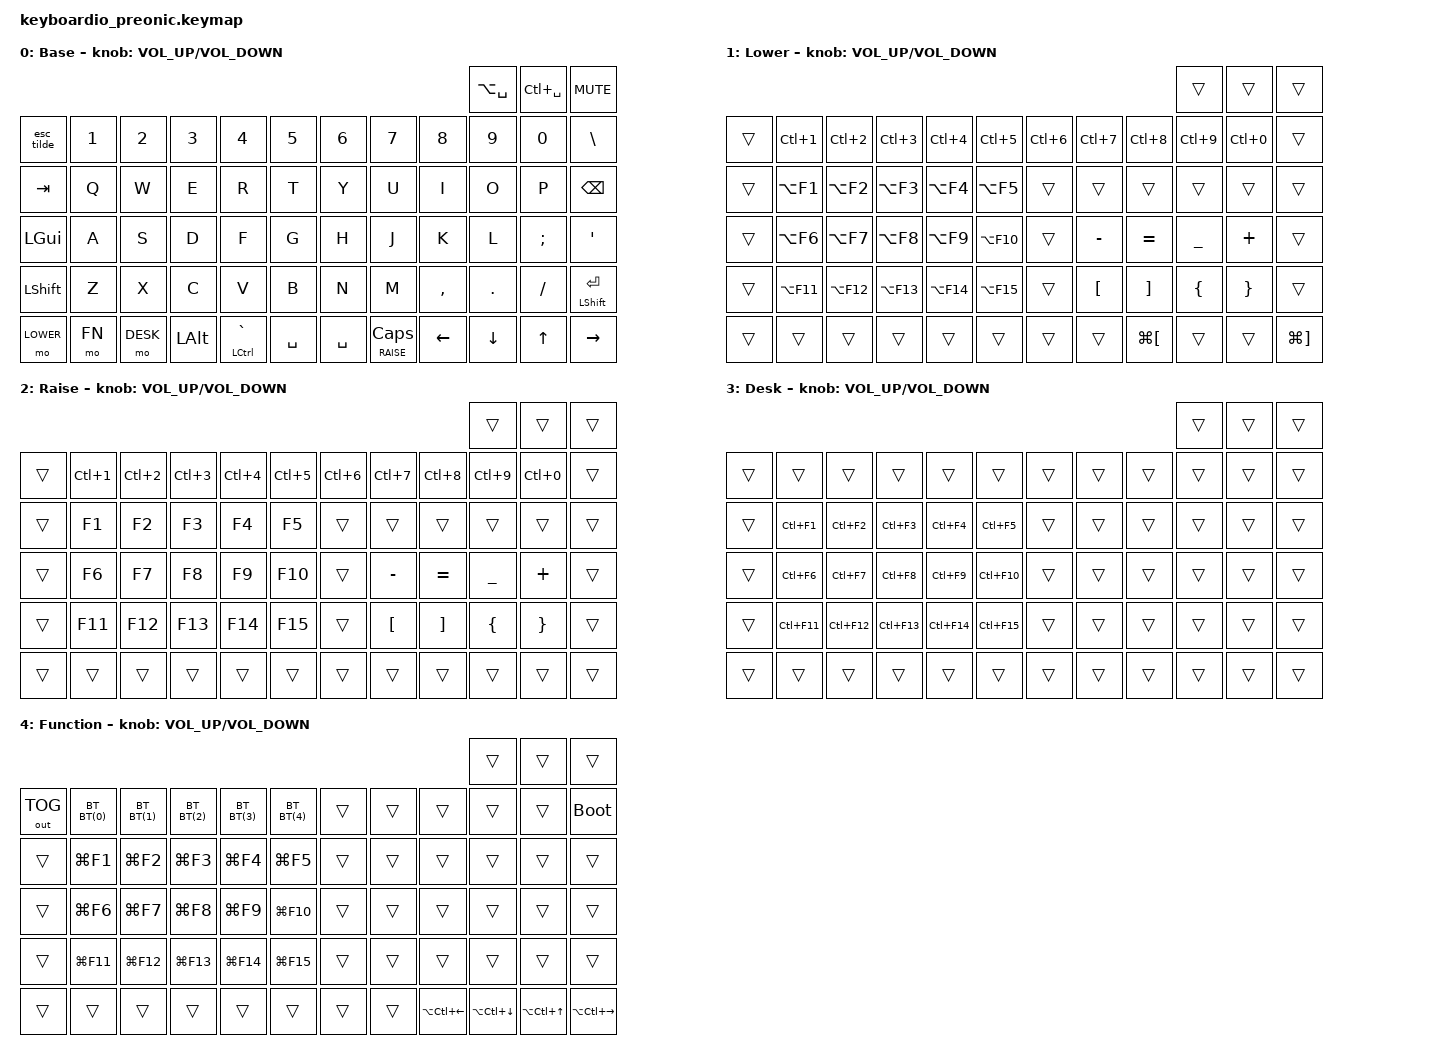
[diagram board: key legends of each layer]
/*
 * Copyright (c) 2022 Pete Johanson
 *
 * SPDX-License-Identifier: MIT
 */

#include <behaviors.dtsi>
#include <dt-bindings/zmk/keys.h>
#include <dt-bindings/zmk/bt.h>
#include <dt-bindings/zmk/outputs.h>

#define LOWER 1
#define RAISE 2
#define DESK 3
#define FN 4

// Using layer taps on thumbs, having quick tap as well helps w/ repeating space/backspace
&lt { quick_tap_ms = <200>; };

// Convenience macro to make the Bluetooth commands shorter
#define BT(n) BT_SEL n

/ {
    behaviors {
        lt_hp: layer_tap_hold_preferred {
            compatible = "zmk,behavior-hold-tap";
            #binding-cells = <2>;
            flavor = "hold-preferred";
            tapping-term-ms = <200>;
            quick-tap-ms = <200>;
            bindings = <&mo>, <&kp>;
        };
        
        ht_hp: hold_tap_hold_preferred {
            compatible = "zmk,behavior-hold-tap";
            #binding-cells = <2>;
            flavor = "hold-preferred";
            tapping-term-ms = <200>;
            quick-tap-ms = <200>;
            bindings = <&kp>, <&kp>;
        };
        
        esc_tilde: esc_tilde_mod_morph {
            compatible = "zmk,behavior-mod-morph";
            #binding-cells = <0>;
            bindings = <&kp ESC>, <&kp TILDE>;
            mods = <(MOD_LSFT|MOD_RSFT)>;
        };
    };
    
    chosen {
        // Valid choices: [ &mit_layout, &ortho_layout ]
        zmk,physical-layout = &ortho_layout;
    };

    keymap {
        compatible = "zmk,keymap";

        base_layer {
            label = "Base";
            bindings = <
                                                                                                                                           &kp LA(SPACE)    &kp LC(SPACE)      &kp C_MUTE

 &esc_tilde          &kp N1      &kp N2      &kp N3      &kp N4               &kp N5      &kp N6      &kp N7                 &kp N8      &kp N9           &kp N0             &kp BSLH
 &kp TAB             &kp Q       &kp W       &kp E       &kp R                &kp T       &kp Y       &kp U                  &kp I       &kp O            &kp P              &kp BKSP
 &kp LGUI            &kp A       &kp S       &kp D       &kp F                &kp G       &kp H       &kp J                  &kp K       &kp L            &kp SEMI           &kp SQT
 &kp LSHFT           &kp Z       &kp X       &kp C       &kp V                &kp B       &kp N       &kp M                  &kp COMMA   &kp PERIOD       &kp SLASH          &ht_hp LSHFT ENTER
 &mo LOWER           &mo FN      &mo DESK    &kp LALT    &ht_hp LCTRL GRAVE   &kp SPACE   &kp SPACE   &lt_hp RAISE CAPSLOCK  &kp LEFT    &kp DOWN         &kp UP             &kp RIGHT

            >;
            sensor-bindings = <&inc_dec_kp C_VOLUME_UP C_VOLUME_DOWN>;            
        };

        lower_layer {
            label = "Lower";
            bindings = <
                                                                                                                 &trans           &trans      &trans

 &trans      &kp LC(N1)  &kp LC(N2)  &kp LC(N3)  &kp LC(N4)  &kp LC(N5)  &kp LC(N6)  &kp LC(N7)  &kp LC(N8)      &kp LC(N9)       &kp LC(N0)  &trans
 &trans      &kp LA(F1)  &kp LA(F2)  &kp LA(F3)  &kp LA(F4)  &kp LA(F5)  &trans      &trans      &trans          &trans           &trans      &trans
 &trans      &kp LA(F6)  &kp LA(F7)  &kp LA(F8)  &kp LA(F9)  &kp LA(F10) &trans      &kp MINUS   &kp EQUAL       &kp UNDERSCORE   &kp PLUS    &trans
 &trans      &kp LA(F11) &kp LA(F12) &kp LA(F13) &kp LA(F14) &kp LA(F15) &trans      &kp LBKT    &kp RBKT        &kp LBRC         &kp RBRC    &trans
 &trans      &trans      &trans      &trans      &trans      &trans      &trans      &trans      &kp LG(LBKT)    &trans           &trans      &kp LG(RBKT)

            >;
            sensor-bindings = <&inc_dec_kp C_VOLUME_UP C_VOLUME_DOWN>;
        };

        raise_layer {
            label = "Raise";
            bindings = <
                                                                                                                &trans            &trans      &trans

 &trans      &kp LC(N1)  &kp LC(N2)  &kp LC(N3)  &kp LC(N4)  &kp LC(N5)  &kp LC(N6)  &kp LC(N7)  &kp LC(N8)     &kp LC(N9)        &kp LC(N0)  &trans
 &trans      &kp F1      &kp F2      &kp F3      &kp F4      &kp F5      &trans      &trans      &trans         &trans            &trans      &trans
 &trans      &kp F6      &kp F7      &kp F8      &kp F9      &kp F10     &trans      &kp MINUS   &kp EQUAL      &kp UNDERSCORE    &kp PLUS    &trans
 &trans      &kp F11     &kp F12     &kp F13     &kp F14     &kp F15     &trans      &kp LBKT    &kp RBKT       &kp LBRC          &kp RBRC    &trans
 &trans      &trans      &trans      &trans      &trans      &trans      &trans      &trans      &trans         &trans            &trans      &trans

            >;
            sensor-bindings = <&inc_dec_kp C_VOLUME_UP C_VOLUME_DOWN>;
        };

        desk_layer {
            label = "Desk";
            bindings = <
                                                                                                               &trans      &trans      &trans

 &trans      &trans      &trans      &trans      &trans      &trans      &trans      &trans      &trans        &trans      &trans      &trans
 &trans      &kp LC(F1)  &kp LC(F2)  &kp LC(F3)  &kp LC(F4)  &kp LC(F5)  &trans      &trans      &trans        &trans      &trans      &trans
 &trans      &kp LC(F6)  &kp LC(F7)  &kp LC(F8)  &kp LC(F9)  &kp LC(F10) &trans      &trans      &trans        &trans      &trans      &trans
 &trans      &kp LC(F11) &kp LC(F12) &kp LC(F13) &kp LC(F14) &kp LC(F15) &trans      &trans      &trans        &trans      &trans      &trans
 &trans      &trans      &trans      &trans      &trans      &trans      &trans      &trans      &trans        &trans      &trans      &trans

            >;
            sensor-bindings = <&inc_dec_kp C_VOLUME_UP C_VOLUME_DOWN>;
        };

        func_layer {
            label = "Function";
            bindings = <
                                                                                                             &trans      &trans      &trans

 &out OUT_TOG &bt BT(0)   &bt BT(1)   &bt BT(2)   &bt BT(3)   &bt BT(4)   &trans      &trans      &trans     &trans      &trans      &bootloader
 &trans       &kp LG(F1)  &kp LG(F2)  &kp LG(F3)  &kp LG(F4)  &kp LG(F5)  &trans      &trans      &trans     &trans      &trans      &trans
 &trans       &kp LG(F6)  &kp LG(F7)  &kp LG(F8)  &kp LG(F9)  &kp LG(F10) &trans      &trans      &trans     &trans      &trans      &trans
 &trans       &kp LG(F11) &kp LG(F12) &kp LG(F13) &kp LG(F14) &kp LG(F15) &trans      &trans      &trans     &trans      &trans      &trans
 &trans       &trans      &trans      &trans      &trans      &trans      &trans      &trans      &kp LA(LC(LEFT))  &kp LA(LC(DOWN))  &kp LA(LC(UP))  &kp LA(LC(RIGHT))

            >;
            sensor-bindings = <&inc_dec_kp C_VOLUME_UP C_VOLUME_DOWN>;
        };
    };
};
